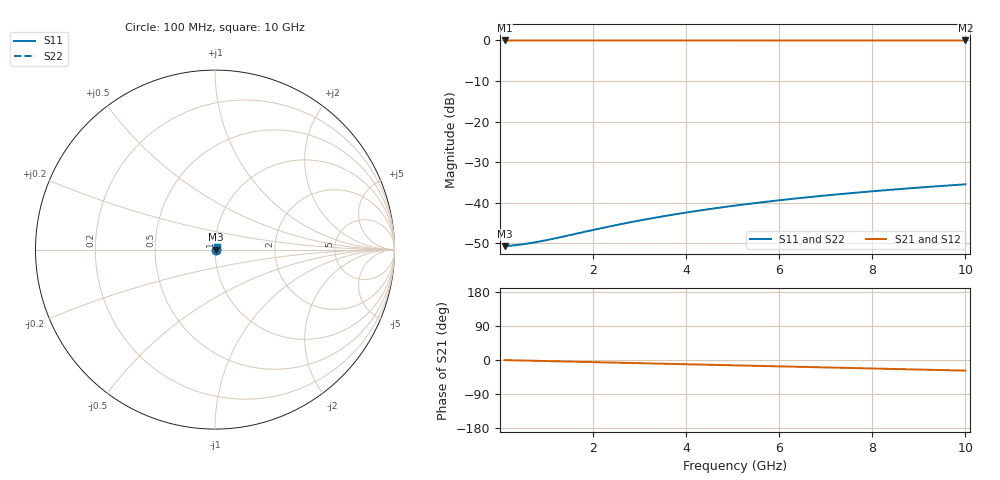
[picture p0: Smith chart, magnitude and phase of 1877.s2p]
# Hz S RI R 50.00
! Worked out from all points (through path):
!   100 points, 100 MHz to 10 GHz, reference 50 ohm
!   highest |S21| = -0.03 dB at 100 MHz (marker M1); lowest = 0.0 dB at 10 GHz (marker M2)
!   group delay of S21, straight-line fit = 7.78 ps
!   lowest |S11| = -50.7 dB at 100 MHz (marker M3), VSWR 1.01, Z = 50.3 + j0.0162 ohm
!   |S11| at or under -10 dB: start of sweep to end of sweep
!   |S22| runs from -50.7 to -35.5 dB; largest |S21 - S12| = 0
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1e8  0.00291 0.000161  0.9971 -0.00486  0.9971 -0.00486  0.00291 0.000161
4e8  0.00296 0.000643  0.9968 -0.0194  0.9968 -0.0194  0.00296 0.000643
6e8  0.00299 0.000964  0.9966 -0.0292  0.9966 -0.0292  0.00299 0.000964
8e8  0.00302 0.00128  0.9962 -0.0389  0.9962 -0.0389  0.00302 0.00128
1e9  0.00306 0.0016  0.9958 -0.0486  0.9958 -0.0486  0.00306 0.0016
1.2e9  0.0031 0.00192  0.9953 -0.0583  0.9953 -0.0583  0.0031 0.00192
1.8e9  0.00326 0.00287  0.9931 -0.0874  0.9931 -0.0874  0.00326 0.00287
2.2e9  0.0034 0.00349  0.9912 -0.1067  0.9912 -0.1067  0.0034 0.00349
2.6e9  0.00356 0.00411  0.9889 -0.1261  0.9889 -0.1261  0.00356 0.00411
3e9  0.00374 0.00472  0.9862 -0.1453  0.9862 -0.1453  0.00374 0.00472
3.4e9  0.00395 0.00532  0.9831 -0.1646  0.9831 -0.1646  0.00395 0.00532
3.8e9  0.00418 0.00591  0.9797 -0.1837  0.9797 -0.1837  0.00418 0.00591
4.2e9  0.00444 0.00649  0.9759 -0.2028  0.9759 -0.2028  0.00444 0.00649
4.6e9  0.00471 0.00706  0.9717 -0.2218  0.9717 -0.2218  0.00471 0.00706
5.1e9  0.00509 0.00776  0.966 -0.2455  0.966 -0.2455  0.00509 0.00776
5.5e9  0.00542 0.0083  0.961 -0.2643  0.961 -0.2643  0.00542 0.0083
5.9e9  0.00576 0.00882  0.9556 -0.2831  0.9556 -0.2831  0.00576 0.00882
6.7e9  0.00652 0.00983  0.9437 -0.3202  0.9437 -0.3202  0.00652 0.00983
7.5e9  0.00736 0.0108  0.9304 -0.3569  0.9304 -0.3569  0.00736 0.0108
8.4e9  0.00838 0.0117  0.9137 -0.3976  0.9137 -0.3976  0.00838 0.0117
9.2e9  0.00937 0.0125  0.8973 -0.4331  0.8973 -0.4331  0.00937 0.0125
1e10  0.0104 0.0132  0.8796 -0.4679  0.8796 -0.4679  0.0104 0.0132
